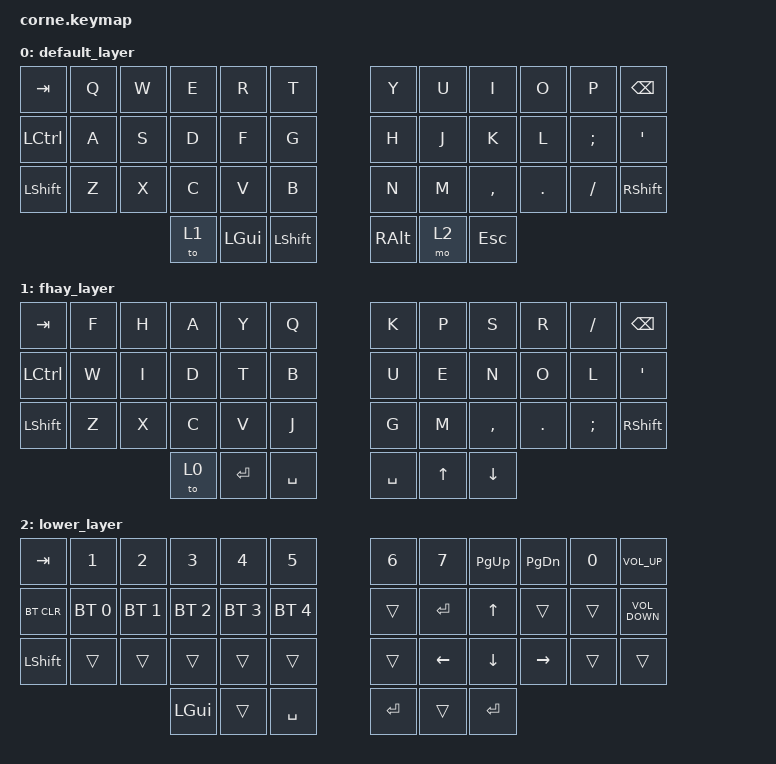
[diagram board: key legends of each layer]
/*
 * Copyright (c) 2020 The ZMK Contributors
 *
 * SPDX-License-Identifier: MIT
 */

#include <behaviors.dtsi>
#include <dt-bindings/zmk/keys.h>
#include <dt-bindings/zmk/bt.h>

/ {
        keymap {
                compatible = "zmk,keymap";

                default_layer {
// -----------------------------------------------------------------------------------------
// |  TAB |  Q  |  W  |  E  |  R  |  T  |   |  Y  |  U   |  I  |  O  |  P  | BSPC |
// | CTRL |  A  |  S  |  D  |  F  |  G  |   |  H  |  J   |  K  |  L  |  ;  |  '   |
// | SHFT |  Z  |  X  |  C  |  V  |  B  |   |  N  |  M   |  ,  |  .  |  /  | ESC  |
//                    | GUI | LWR | SPC |   | ENT | RSE  | ALT |
                        bindings = <
   &kp TAB   &kp Q &kp W &kp E &kp R &kp T      &kp Y &kp U  &kp I     &kp O   &kp P    &kp BSPC
   &kp LCTRL &kp A &kp S &kp D &kp F &kp G      &kp H &kp J  &kp K     &kp L   &kp SEMI &kp SQT
   &kp LSHFT &kp Z &kp X &kp C &kp V &kp B      &kp N &kp M  &kp COMMA &kp DOT &kp FSLH &kp RSHFT
                   &to 1 &kp LGUI &kp LSHFT     &kp RALT &mo 2 &kp ESC
                        >;
                };

                fhay_layer {
// -----------------------------------------------------------------------------------------
// |  TAB |  !  |  @  |  #  |  $  |  %  |   |  ^  |  &  |  *  |  (  |  )  | BSPC |
// | CTRL |     |     |     |     |     |   |  -  |  =  |  [  |  ]  |  \  |  `   |
// | SHFT |     |     |     |     |     |   |  _  |  +  |  {  |  }  | "|" |  ~   |
//                    | GUI |     | SPC |   | ENT |     | ALT |
                        bindings = <
   &kp TAB   &kp F &kp H &kp A &kp Y &kp Q      &kp K &kp P  &kp S     &kp R   &kp FSLH   &kp BSPC
   &kp LCTRL &kp W &kp I &kp D &kp T &kp B      &kp U &kp E  &kp N     &kp O   &kp L      &kp SQT
   &kp LSHFT &kp Z &kp X &kp C &kp V &kp J      &kp G &kp M  &kp COMMA &kp DOT &kp SEMI   &kp RSHFT
                   &to 0 &kp RET &kp SPACE     &kp SPACE &kp UP &kp DOWN
                        >;
                };

                lower_layer {
// -----------------------------------------------------------------------------------------
// |  TAB |  1  |  2  |  3  |  4  |  5  |   |  6  |  7  |  PG |  PGD|  0  | BSPC |
// | BTCLR| BT1 | BT2 | BT3 | BT4 | BT5 |   |     |     |  UP |     |     |      |
// | SHFT |     |     |     |     |     |   |     | LFT | DWN | RGT |     |      |
//                    | GUI |     | SPC |   | ENT |     | ALT |
                        bindings = <
   &kp TAB    &kp N1       &kp N2       &kp N3       &kp N4       &kp N5         &kp N6   &kp N7    &kp PAGE_UP   &kp PAGE_DOWN    &kp N0 &kp K_VOLUME_UP
   &bt BT_CLR &bt BT_SEL 0 &bt BT_SEL 1 &bt BT_SEL 2 &bt BT_SEL 3 &bt BT_SEL 4   &trans   &kp RET   &kp UP        &trans           &trans &kp K_VOLUME_DOWN
   &kp LSHFT  &trans       &trans       &trans       &trans       &trans         &trans   &kp LEFT  &kp DOWN      &kp RIGHT        &trans &trans
                                        &kp LGUI     &trans       &kp SPACE      &kp RET  &trans    &kp RET
                                        
                        >;
                };
        };
};
